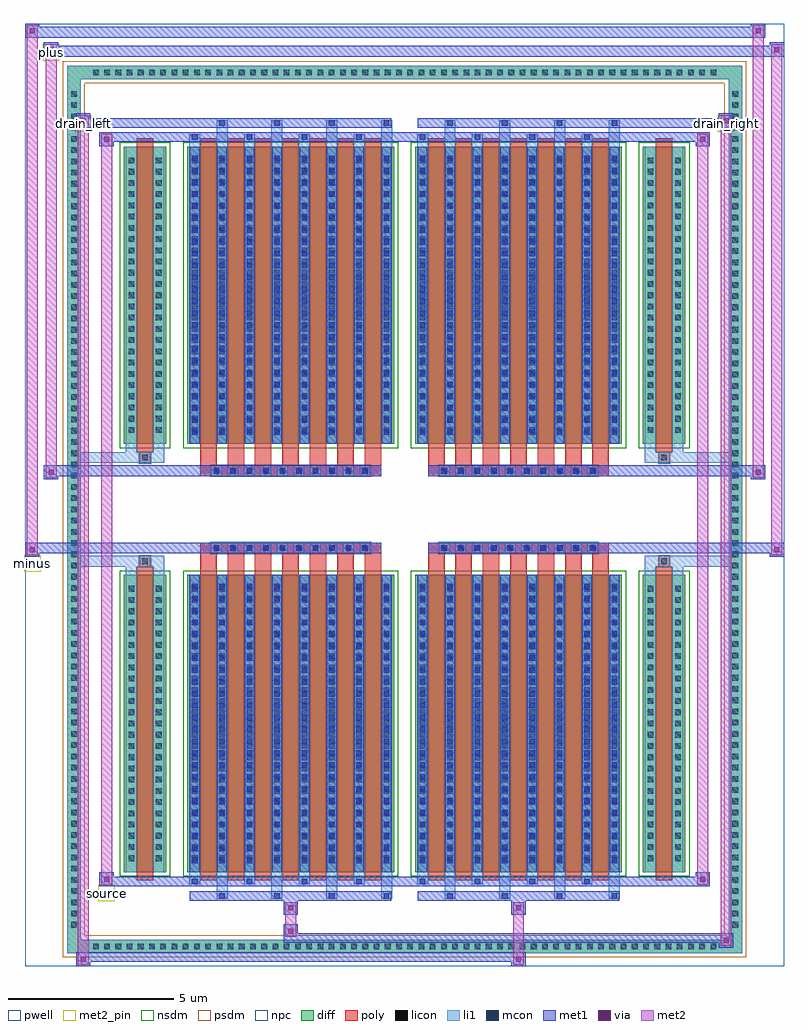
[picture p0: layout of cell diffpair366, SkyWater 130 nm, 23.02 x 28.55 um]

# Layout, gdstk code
import gdstk
lib = gdstk.Library(unit=1e-6, precision=5e-09)
def R(c, l, rs):  # rectangles x0, y0, x1, y1
    for r in rs: c.add(gdstk.rectangle(r[:2], r[2:], *l))
def A(c, l, x, y, w, h, nx, ny, dx, dy):  # array of equal rectangles
    R(c, l, [(x+i*dx, y+j*dy, x+i*dx+w, y+j*dy+h) for i in range(nx) for j in range(ny)])
def P(c, l, *ps):  # polygons
    for p in ps: c.add(gdstk.Polygon(p, *l))
pwell = (64, 44)
diff = (65, 20)
poly = (66, 20)
licon = (66, 44)
li1 = (67, 20)
mcon = (67, 44)
met1 = (68, 20)
via = (68, 44)
met2_pin = (69, 16)
met2 = (69, 20)
nsdm = (93, 44)
psdm = (94, 20)
npc = (95, 20)

diffpair366 = lib.new_cell('diffpair366')
R(diffpair366, pwell, [(-11.49,-13.84,11.49,14.71), (-8.81,-12.03,-0.01,-0.805), (0.01,-12.03,8.81,-0.805), (-8.81,0.805,-0.01,12.03), (0.01,0.805,8.81,12.03)])
A(diffpair366, diff, -9.555, -13.44, 0.41, 0.41, 56, 2, 0.34, 26.47)
A(diffpair366, diff, -10.22, -12.785, 0.41, 0.41, 1, 75, 0, 0.34)
A(diffpair366, diff, 9.81, -12.785, 0.41, 0.41, 1, 75, 0, 0.34)
R(diffpair366, diff, [(-9.555,-13.44,9.555,-13.03), (-10.22,-12.785,-9.81,12.785), (9.81,-12.785,10.22,12.785), (-8.5,-10.985,-7.22,-1.985), (-6.58,-10.985,-0.32,-1.985), (0.32,-10.985,6.58,-1.985), (7.22,-10.985,8.5,-1.985), (-8.5,1.985,-7.22,10.985), (-6.58,1.985,-0.32,10.985), (0.32,1.985,6.58,10.985), (7.22,1.985,8.5,10.985), (-9.555,13.03,9.555,13.44)])
P(diffpair366, diff, [(10.22,13.44),(-10.22,13.44),(-10.22,-13.03),(-9.81,-13.03),(-9.81,13.03),(9.81,13.03),(9.81,-13.03),(-9.81,-13.03),(-10.22,-13.03),(-10.22,-13.44),(10.22,-13.44)])
A(diffpair366, poly, -6.19, -11.235, 0.5, 9.5, 7, 2, 0.83, 12.97)
A(diffpair366, poly, 0.71, -11.235, 0.5, 9.5, 7, 2, 0.83, 12.97)
A(diffpair366, poly, -6.19, -1.735, 0.5, 0.4, 7, 2, 0.83, 3.07)
A(diffpair366, poly, 0.71, -1.735, 0.5, 0.4, 7, 2, 0.83, 3.07)
A(diffpair366, poly, -5.865, -1.335, 0.33, 0.33, 10, 2, 0.5, 2.34)
A(diffpair366, poly, 1.035, -1.335, 0.33, 0.33, 10, 2, 0.5, 2.34)
R(diffpair366, poly, [(-8.11,-11.235,-7.61,-1.735), (7.61,-11.235,8.11,-1.735), (-8.025,-1.735,-7.695,-1.405), (-8.025,-1.735,-7.695,-1.405), (7.695,-1.735,8.025,-1.405), (7.695,-1.735,8.025,-1.405), (-6.19,-1.335,-0.71,-1.005), (0.71,-1.335,6.19,-1.005), (-6.19,1.005,-0.71,1.335), (0.71,1.005,6.19,1.335), (-8.025,1.405,-7.695,1.735), (-8.025,1.405,-7.695,1.735), (7.695,1.405,8.025,1.735), (7.695,1.405,8.025,1.735), (-8.11,1.735,-7.61,11.235), (7.61,1.735,8.11,11.235)])
A(diffpair366, licon, -9.435, -13.32, 0.17, 0.17, 56, 2, 0.34, 26.47)
A(diffpair366, licon, -10.1, -12.665, 0.17, 0.17, 1, 75, 0, 0.34)
A(diffpair366, licon, 9.93, -12.665, 0.17, 0.17, 1, 75, 0, 0.34)
A(diffpair366, licon, -8.36, -10.65, 0.17, 0.17, 1, 25, 0, 0.34)
A(diffpair366, licon, -7.53, -10.65, 0.17, 0.17, 1, 25, 0, 0.34)
A(diffpair366, licon, -6.44, -10.65, 0.17, 0.17, 8, 25, 0.83, 0.34)
A(diffpair366, licon, 0.46, -10.65, 0.17, 0.17, 8, 25, 0.83, 0.34)
A(diffpair366, licon, 7.36, -10.65, 0.17, 0.17, 1, 25, 0, 0.34)
A(diffpair366, licon, 8.19, -10.65, 0.17, 0.17, 1, 25, 0, 0.34)
A(diffpair366, licon, -5.785, -1.255, 0.17, 0.17, 10, 2, 0.5, 2.34)
A(diffpair366, licon, 1.115, -1.255, 0.17, 0.17, 10, 2, 0.5, 2.34)
A(diffpair366, licon, -8.36, 2.32, 0.17, 0.17, 1, 25, 0, 0.34)
A(diffpair366, licon, -7.53, 2.32, 0.17, 0.17, 1, 25, 0, 0.34)
A(diffpair366, licon, -6.44, 2.32, 0.17, 0.17, 8, 25, 0.83, 0.34)
A(diffpair366, licon, 0.46, 2.32, 0.17, 0.17, 8, 25, 0.83, 0.34)
A(diffpair366, licon, 7.36, 2.32, 0.17, 0.17, 1, 25, 0, 0.34)
A(diffpair366, licon, 8.19, 2.32, 0.17, 0.17, 1, 25, 0, 0.34)
R(diffpair366, licon, [(-7.945,-1.655,-7.775,-1.485), (7.775,-1.655,7.945,-1.485), (-7.945,1.485,-7.775,1.655), (7.775,1.485,7.945,1.655)])
A(diffpair366, li1, -9.515, -13.4, 0.33, 0.33, 56, 2, 0.34, 26.47)
A(diffpair366, li1, -10.18, -12.745, 0.33, 0.33, 1, 75, 0, 0.34)
A(diffpair366, li1, 9.85, -12.745, 0.33, 0.33, 1, 75, 0, 0.34)
A(diffpair366, li1, -5.69, -11.79, 0.33, 0.805, 4, 2, 1.66, 22.775)
A(diffpair366, li1, -5.61, -11.79, 0.17, 0.17, 4, 2, 1.66, 23.41)
A(diffpair366, li1, 1.21, -11.79, 0.33, 0.805, 4, 2, 1.66, 22.775)
A(diffpair366, li1, 1.29, -11.79, 0.17, 0.17, 4, 2, 1.66, 23.41)
A(diffpair366, li1, -6.52, -11.36, 0.33, 0.375, 4, 2, 1.66, 22.345)
A(diffpair366, li1, -6.44, -11.36, 0.17, 0.17, 4, 2, 1.66, 22.55)
A(diffpair366, li1, 0.38, -11.36, 0.33, 0.375, 4, 2, 1.66, 22.345)
A(diffpair366, li1, 0.46, -11.36, 0.17, 0.17, 4, 2, 1.66, 22.55)
A(diffpair366, li1, -6.52, -10.985, 0.33, 9, 8, 2, 0.83, 12.97)
A(diffpair366, li1, 0.38, -10.985, 0.33, 9, 8, 2, 0.83, 12.97)
A(diffpair366, li1, -8.44, -10.73, 0.33, 0.33, 1, 25, 0, 0.34)
A(diffpair366, li1, -7.61, -10.73, 0.33, 0.33, 1, 25, 0, 0.34)
A(diffpair366, li1, -6.52, -10.73, 0.33, 0.33, 8, 25, 0.83, 0.34)
A(diffpair366, li1, 0.38, -10.73, 0.33, 0.33, 8, 25, 0.83, 0.34)
A(diffpair366, li1, 7.28, -10.73, 0.33, 0.33, 1, 25, 0, 0.34)
A(diffpair366, li1, 8.11, -10.73, 0.33, 0.33, 1, 25, 0, 0.34)
A(diffpair366, li1, -6.44, -10.71, 0.17, 0.17, 8, 24, 0.83, 0.36)
A(diffpair366, li1, -6.44, -10.71, 0.17, 8.45, 8, 2, 0.83, 12.97)
A(diffpair366, li1, 0.46, -10.71, 0.17, 0.17, 8, 24, 0.83, 0.36)
A(diffpair366, li1, 0.46, -10.71, 0.17, 8.45, 8, 2, 0.83, 12.97)
A(diffpair366, li1, -5.865, -1.335, 0.33, 0.33, 10, 2, 0.5, 2.34)
A(diffpair366, li1, 1.035, -1.335, 0.33, 0.33, 10, 2, 0.5, 2.34)
A(diffpair366, li1, -8.44, 2.24, 0.33, 0.33, 1, 25, 0, 0.34)
A(diffpair366, li1, -7.61, 2.24, 0.33, 0.33, 1, 25, 0, 0.34)
A(diffpair366, li1, -6.52, 2.24, 0.33, 0.33, 8, 25, 0.83, 0.34)
A(diffpair366, li1, 0.38, 2.24, 0.33, 0.33, 8, 25, 0.83, 0.34)
A(diffpair366, li1, 7.28, 2.24, 0.33, 0.33, 1, 25, 0, 0.34)
A(diffpair366, li1, 8.11, 2.24, 0.33, 0.33, 1, 25, 0, 0.34)
A(diffpair366, li1, -6.44, 2.26, 0.17, 0.17, 8, 24, 0.83, 0.36)
A(diffpair366, li1, 0.46, 2.26, 0.17, 0.17, 8, 24, 0.83, 0.36)
R(diffpair366, li1, [(-10.22,-13.44,-9.81,-13.03), (-10.22,-13.44,-9.81,-13.03), (-9.81,-13.44,9.81,-13.03), (9.81,-13.44,10.22,-13.03), (9.81,-13.44,10.22,-13.03), (-10.22,-13.03,-9.81,13.03), (9.81,-13.03,10.22,13.03), (-8.44,-10.985,-8.11,-1.985), (-7.61,-10.985,-7.28,-1.985), (7.28,-10.985,7.61,-1.985), (8.11,-10.985,8.44,-1.985), (-8.44,-1.985,-8.11,-1.405), (-7.61,-1.985,-7.28,-1.405), (7.28,-1.985,7.61,-1.405), (8.11,-1.985,8.44,-1.405), (-10.22,-1.735,-8.025,-1.405), (-8.44,-1.735,-8.025,-1.405), (-8.025,-1.735,-7.695,-1.405), (-7.695,-1.735,-7.28,-1.405), (7.28,-1.735,7.695,-1.405), (7.695,-1.735,8.025,-1.405), (7.695,-1.735,10.22,-1.405), (8.025,-1.735,8.44,-1.405), (-10.22,1.405,-8.025,1.735), (-8.44,1.405,-8.025,1.735), (-8.44,1.405,-8.11,1.985), (-8.025,1.405,-7.695,1.735), (-7.695,1.405,-7.28,1.735), (-7.61,1.405,-7.28,1.985), (7.28,1.405,7.695,1.735), (7.28,1.405,7.61,1.985), (7.695,1.405,8.025,1.735), (7.695,1.405,10.22,1.735), (8.025,1.405,8.44,1.735), (8.11,1.405,8.44,1.985), (-8.44,1.985,-8.11,10.985), (-7.61,1.985,-7.28,10.985), (7.28,1.985,7.61,10.985), (8.11,1.985,8.44,10.985), (-10.22,13.03,-9.81,13.44), (-10.22,13.03,-9.81,13.44), (-9.81,13.03,9.81,13.44), (9.81,13.03,10.22,13.44), (9.81,13.03,10.22,13.44)])
A(diffpair366, mcon, -5.61, -11.79, 0.17, 0.17, 4, 2, 1.66, 23.41)
A(diffpair366, mcon, 1.29, -11.79, 0.17, 0.17, 4, 2, 1.66, 23.41)
A(diffpair366, mcon, -6.44, -11.36, 0.17, 0.17, 4, 2, 1.66, 22.55)
A(diffpair366, mcon, 0.46, -11.36, 0.17, 0.17, 4, 2, 1.66, 22.55)
A(diffpair366, mcon, -6.44, -10.71, 0.17, 0.17, 8, 24, 0.83, 0.36)
A(diffpair366, mcon, 0.46, -10.71, 0.17, 0.17, 8, 24, 0.83, 0.36)
A(diffpair366, mcon, -5.785, -1.255, 0.17, 0.17, 10, 2, 0.5, 2.34)
A(diffpair366, mcon, 1.115, -1.255, 0.17, 0.17, 10, 2, 0.5, 2.34)
A(diffpair366, mcon, -6.44, 2.26, 0.17, 0.17, 8, 24, 0.83, 0.36)
A(diffpair366, mcon, 0.46, 2.26, 0.17, 0.17, 8, 24, 0.83, 0.36)
A(diffpair366, met1, -5.67, -11.85, 0.29, 0.29, 4, 2, 1.66, 23.41)
A(diffpair366, met1, 1.23, -11.85, 0.29, 0.29, 4, 2, 1.66, 23.41)
A(diffpair366, met1, -6.5, -11.42, 0.29, 0.29, 4, 2, 1.66, 22.55)
A(diffpair366, met1, 0.4, -11.42, 0.29, 0.29, 4, 2, 1.66, 22.55)
A(diffpair366, met1, -6.5, -10.985, 0.29, 9, 8, 2, 0.83, 12.97)
A(diffpair366, met1, 0.4, -10.985, 0.29, 9, 8, 2, 0.83, 12.97)
A(diffpair366, met1, -6.5, -10.77, 0.29, 0.29, 8, 24, 0.83, 0.36)
A(diffpair366, met1, 0.4, -10.77, 0.29, 0.29, 8, 24, 0.83, 0.36)
A(diffpair366, met1, -5.845, -1.315, 0.29, 0.29, 10, 2, 0.5, 2.34)
A(diffpair366, met1, 1.055, -1.315, 0.29, 0.29, 10, 2, 0.5, 2.34)
A(diffpair366, met1, -6.5, 2.2, 0.29, 0.29, 8, 24, 0.83, 0.36)
A(diffpair366, met1, 0.4, 2.2, 0.29, 0.29, 8, 24, 0.83, 0.36)
R(diffpair366, met1, [(-9.95,-13.84,-9.52,-13.41), (3.235,-13.84,3.665,-13.41), (-9.95,-13.7,3.665,-13.41), (9.52,-13.27,9.95,-12.84), (-3.665,-13.13,9.95,-12.84), (-3.665,-12.99,-3.235,-12.56), (-3.665,-12.28,-3.235,-11.85), (3.235,-12.28,3.665,-11.85), (-6.5,-11.85,-0.4,-11.56), (0.4,-11.85,6.5,-11.56), (-9.24,-11.42,-8.81,-10.99), (-9.24,-11.42,-6.5,-11.13), (-6.5,-11.42,-0.4,-11.13), (-0.4,-11.42,0.4,-11.13), (0.4,-11.42,6.5,-11.13), (6.5,-11.42,9.24,-11.13), (8.81,-11.42,9.24,-10.99), (-11.49,-1.435,-11.06,-1.005), (11.06,-1.435,11.49,-1.005), (-11.49,-1.335,-0.71,-1.005), (-6.19,-1.335,-0.71,-1.005), (0.71,-1.335,6.19,-1.005), (0.71,-1.335,11.49,-1.005), (-10.92,0.905,-10.49,1.335), (10.49,0.905,10.92,1.335), (-10.92,1.005,-6.19,1.335), (-6.19,1.005,-0.71,1.335), (0.71,1.005,6.19,1.335), (6.19,1.005,10.92,1.335), (-9.24,10.99,-8.81,11.42), (8.81,10.99,9.24,11.42), (-9.24,11.13,-6.5,11.42), (-6.5,11.13,-0.4,11.42), (-0.4,11.13,0.4,11.42), (0.4,11.13,6.5,11.42), (6.5,11.13,9.24,11.42), (-9.95,11.56,-9.52,11.99), (-9.95,11.56,-6.5,11.85), (-6.5,11.56,-0.4,11.85), (0.4,11.56,6.5,11.85), (6.5,11.56,9.95,11.85), (9.52,11.56,9.95,11.99), (-10.92,13.71,-10.49,14.14), (-10.92,13.71,-8.81,14.04), (-8.81,13.71,8.81,14.04), (8.81,13.71,11.49,14.04), (11.06,13.71,11.49,14.14), (-11.49,14.28,-11.06,14.71), (-11.49,14.28,-8.81,14.61), (-8.81,14.28,8.81,14.61), (8.81,14.28,10.92,14.61), (10.49,14.28,10.92,14.71)])
R(diffpair366, via, [(-9.81,-13.7,-9.66,-13.55), (3.375,-13.7,3.525,-13.55), (9.66,-13.13,9.81,-12.98), (-3.525,-12.85,-3.375,-12.7), (-3.525,-12.14,-3.375,-11.99), (3.375,-12.14,3.525,-11.99), (-9.1,-11.28,-8.95,-11.13), (8.95,-11.28,9.1,-11.13), (-11.35,-1.295,-11.2,-1.145), (11.2,-1.295,11.35,-1.145), (-10.78,1.045,-10.63,1.195), (10.63,1.045,10.78,1.195), (-9.1,11.13,-8.95,11.28), (8.95,11.13,9.1,11.28), (-9.81,11.7,-9.66,11.85), (9.66,11.7,9.81,11.85), (-10.78,13.85,-10.63,14), (11.2,13.85,11.35,14), (-11.35,14.42,-11.2,14.57), (10.63,14.42,10.78,14.57)])
R(diffpair366, met2_pin, [(-9.275,-11.87,-8.775,-11.37), (-11.525,-1.885,-11.025,-1.385), (-9.985,11.44,-9.485,11.94), (9.485,11.44,9.985,11.94), (-10.955,13.59,-10.455,14.09)])
R(diffpair366, met2, [(-9.9,-13.79,-9.57,-13.46), (-9.9,-13.79,-9.57,11.94), (3.285,-13.79,3.615,-13.46), (3.285,-13.46,3.615,-12.23), (9.57,-13.22,9.9,-12.89), (9.57,-13.22,9.9,11.94), (-3.615,-12.94,-3.285,-12.61), (-3.615,-12.61,-3.285,-12.23), (-3.615,-12.23,-3.285,-11.9), (3.285,-12.23,3.615,-11.9), (-9.19,-11.37,-8.86,-11.04), (-9.19,-11.37,-8.86,11.37), (8.86,-11.37,9.19,-11.04), (8.86,-11.37,9.19,11.37), (-11.44,-1.385,-11.11,-1.055), (-11.44,-1.385,-11.11,14.66), (11.11,-1.385,11.44,-1.055), (11.11,-1.385,11.44,14.09), (-10.87,0.955,-10.54,1.285), (-10.87,0.955,-10.54,14.09), (10.54,0.955,10.87,1.285), (10.54,0.955,10.87,14.66), (-9.19,11.04,-8.86,11.37), (8.86,11.04,9.19,11.37), (-9.9,11.61,-9.57,11.94), (9.57,11.61,9.9,11.94), (-10.87,13.76,-10.54,14.09), (11.11,13.76,11.44,14.09), (-11.44,14.33,-11.11,14.66), (10.54,14.33,10.87,14.66)])
P(diffpair366, met2, [(11.44,-1.385),(11.44,-1.385),(11.44,-1.055),(11.44,-1.055)],
  [(11.44,13.76),(11.44,13.76),(11.44,14.09),(11.44,14.09)],
  [(-11.11,-1.385),(-11.11,-1.385),(-11.11,-1.055),(-11.11,-1.055)],
  [(-11.11,14.33),(-11.11,14.33),(-11.11,14.66),(-11.11,14.66)],
  [(10.87,0.955),(10.87,0.955),(10.87,1.285),(10.87,1.285)],
  [(10.87,14.33),(10.87,14.33),(10.87,14.66),(10.87,14.66)],
  [(-10.54,0.955),(-10.54,0.955),(-10.54,1.285),(-10.54,1.285)],
  [(-10.54,13.76),(-10.54,13.76),(-10.54,14.09),(-10.54,14.09)],
  [(-9.57,-13.79),(-9.57,-13.79),(-9.57,-13.46),(-9.57,-13.46)],
  [(-9.57,11.61),(-9.57,11.61),(-9.57,11.94),(-9.57,11.94)],
  [(9.9,-13.22),(9.9,-13.22),(9.9,-12.89),(9.9,-12.89)],
  [(9.9,11.61),(9.9,11.61),(9.9,11.94),(9.9,11.94)],
  [(-8.86,-11.37),(-8.86,-11.37),(-8.86,-11.04),(-8.86,-11.04)],
  [(-8.86,11.04),(-8.86,11.04),(-8.86,11.37),(-8.86,11.37)],
  [(9.19,-11.37),(9.19,-11.37),(9.19,-11.04),(9.19,-11.04)],
  [(9.19,11.04),(9.19,11.04),(9.19,11.37),(9.19,11.37)])
R(diffpair366, nsdm, [(-8.63,-11.115,-7.09,-1.855), (-6.71,-11.115,-0.19,-1.855), (0.19,-11.115,6.71,-1.855), (7.09,-11.115,8.63,-1.855), (-8.63,1.855,-7.09,11.115), (-6.71,1.855,-0.19,11.115), (0.19,1.855,6.71,11.115), (7.09,1.855,8.63,11.115)])
P(diffpair366, psdm, [(10.35,13.57),(-10.35,13.57),(-10.35,-12.9),(-9.68,-12.9),(-9.68,12.9),(9.68,12.9),(9.68,-12.9),(-9.68,-12.9),(-10.35,-12.9),(-10.35,-13.57),(10.35,-13.57)])
A(diffpair366, npc, -5.885, -1.355, 0.37, 0.37, 10, 2, 0.5, 2.34)
A(diffpair366, npc, 1.015, -1.355, 0.37, 0.37, 10, 2, 0.5, 2.34)
R(diffpair366, npc, [(-8.045,-1.755,-7.675,-1.385), (7.675,-1.755,8.045,-1.385), (-5.885,-1.355,-5.015,-0.985), (-5.885,-1.355,-5.015,-0.985), (-5.385,-1.355,-4.515,-0.985), (-5.385,-1.355,-4.515,-0.985), (-4.885,-1.355,-4.015,-0.985), (-4.885,-1.355,-4.015,-0.985), (-4.385,-1.355,-3.515,-0.985), (-4.385,-1.355,-3.515,-0.985), (-3.885,-1.355,-3.015,-0.985), (-3.885,-1.355,-3.015,-0.985), (-3.385,-1.355,-2.515,-0.985), (-3.385,-1.355,-2.515,-0.985), (-2.885,-1.355,-2.015,-0.985), (-2.885,-1.355,-2.015,-0.985), (-2.385,-1.355,-1.515,-0.985), (-2.385,-1.355,-1.515,-0.985), (-1.885,-1.355,-1.015,-0.985), (-1.885,-1.355,-1.015,-0.985), (1.015,-1.355,1.885,-0.985), (1.015,-1.355,1.885,-0.985), (1.515,-1.355,2.385,-0.985), (1.515,-1.355,2.385,-0.985), (2.015,-1.355,2.885,-0.985), (2.015,-1.355,2.885,-0.985), (2.515,-1.355,3.385,-0.985), (2.515,-1.355,3.385,-0.985), (3.015,-1.355,3.885,-0.985), (3.015,-1.355,3.885,-0.985), (3.515,-1.355,4.385,-0.985), (3.515,-1.355,4.385,-0.985), (4.015,-1.355,4.885,-0.985), (4.015,-1.355,4.885,-0.985), (4.515,-1.355,5.385,-0.985), (4.515,-1.355,5.385,-0.985), (5.015,-1.355,5.885,-0.985), (5.015,-1.355,5.885,-0.985), (-5.885,0.985,-5.015,1.355), (-5.885,0.985,-5.015,1.355), (-5.385,0.985,-4.515,1.355), (-5.385,0.985,-4.515,1.355), (-4.885,0.985,-4.015,1.355), (-4.885,0.985,-4.015,1.355), (-4.385,0.985,-3.515,1.355), (-4.385,0.985,-3.515,1.355), (-3.885,0.985,-3.015,1.355), (-3.885,0.985,-3.015,1.355), (-3.385,0.985,-2.515,1.355), (-3.385,0.985,-2.515,1.355), (-2.885,0.985,-2.015,1.355), (-2.885,0.985,-2.015,1.355), (-2.385,0.985,-1.515,1.355), (-2.385,0.985,-1.515,1.355), (-1.885,0.985,-1.015,1.355), (-1.885,0.985,-1.015,1.355), (1.015,0.985,1.885,1.355), (1.015,0.985,1.885,1.355), (1.515,0.985,2.385,1.355), (1.515,0.985,2.385,1.355), (2.015,0.985,2.885,1.355), (2.015,0.985,2.885,1.355), (2.515,0.985,3.385,1.355), (2.515,0.985,3.385,1.355), (3.015,0.985,3.885,1.355), (3.015,0.985,3.885,1.355), (3.515,0.985,4.385,1.355), (3.515,0.985,4.385,1.355), (4.015,0.985,4.885,1.355), (4.015,0.985,4.885,1.355), (4.515,0.985,5.385,1.355), (4.515,0.985,5.385,1.355), (5.015,0.985,5.885,1.355), (5.015,0.985,5.885,1.355), (-8.045,1.385,-7.675,1.755), (7.675,1.385,8.045,1.755)])
diffpair366.add(gdstk.Label('minus', (-11.275,-1.635), layer=69, texttype=5))
diffpair366.add(gdstk.Label('drain_right', (9.735,11.69), layer=69, texttype=5))
diffpair366.add(gdstk.Label('drain_left', (-9.735,11.69), layer=69, texttype=5))
diffpair366.add(gdstk.Label('source', (-9.025,-11.62), layer=69, texttype=5))
diffpair366.add(gdstk.Label('plus', (-10.705,13.84), layer=69, texttype=5))

lib.write_gds('diffpair366.gds')
